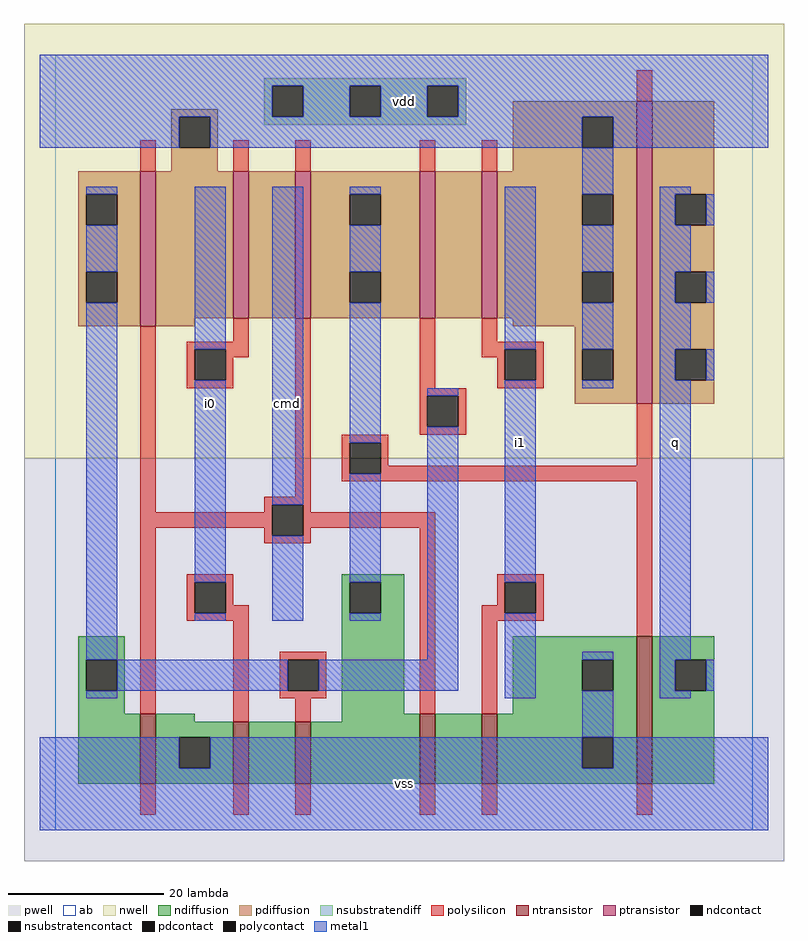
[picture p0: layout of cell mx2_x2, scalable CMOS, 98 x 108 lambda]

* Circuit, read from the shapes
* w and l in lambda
.subckt mx2_x2 cmd i0 i1 q vdd vss
M1 vss cmd n1 VSUBS nfet w=9 l=2
M2 n2 i0 vss VSUBS nfet w=8 l=2
M3 n3 n1 n2 VSUBS nfet w=8 l=2
M4 n4 cmd n3 VSUBS nfet w=9 l=2
M5 vss i1 n4 VSUBS nfet w=9 l=2
M6 q n3 vss VSUBS nfet w=19 l=2
M7 vdd cmd n1 vdd pfet w=20 l=2
M8 n5 i0 vdd vdd pfet w=19 l=2
M9 n3 cmd n5 vdd pfet w=19 l=2
M10 n6 n1 n3 vdd pfet w=19 l=2
M11 vdd i1 n6 vdd pfet w=19 l=2
M12 q n3 vdd vdd pfet w=39 l=2
.ends

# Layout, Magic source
magic
tech scmos
<< ab >>
rect 0 0 90 100
<< pwell >>
rect -4 -4 94 48
<< nwell >>
rect -4 48 94 104
<< polysilicon >>
rect 11 85 13 89
rect 75 94 77 98
rect 23 85 25 89
rect 31 85 33 89
rect 47 85 49 89
rect 55 85 57 89
rect 11 41 13 65
rect 23 63 25 66
rect 17 62 25 63
rect 17 58 18 62
rect 22 61 25 62
rect 22 58 23 61
rect 17 57 23 58
rect 31 43 33 66
rect 47 57 49 66
rect 55 63 57 66
rect 55 62 63 63
rect 55 61 58 62
rect 57 58 58 61
rect 62 58 63 62
rect 57 57 63 58
rect 47 56 53 57
rect 47 52 48 56
rect 52 52 53 56
rect 47 51 53 52
rect 37 50 43 51
rect 37 46 38 50
rect 42 47 43 50
rect 75 47 77 55
rect 42 46 77 47
rect 37 45 77 46
rect 27 42 33 43
rect 27 41 28 42
rect 11 39 28 41
rect 11 15 13 39
rect 27 38 28 39
rect 32 41 33 42
rect 32 39 49 41
rect 32 38 33 39
rect 27 37 33 38
rect 17 32 23 33
rect 17 28 18 32
rect 22 29 23 32
rect 22 28 25 29
rect 17 27 25 28
rect 23 14 25 27
rect 29 22 35 23
rect 29 18 30 22
rect 34 18 35 22
rect 29 17 35 18
rect 31 14 33 17
rect 47 15 49 39
rect 57 32 63 33
rect 57 29 58 32
rect 55 28 58 29
rect 62 28 63 32
rect 55 27 63 28
rect 55 15 57 27
rect 75 25 77 45
rect 11 2 13 6
rect 23 2 25 6
rect 31 2 33 6
rect 47 2 49 6
rect 55 2 57 6
rect 75 2 77 6
<< ndiffusion >>
rect 3 22 9 25
rect 3 18 4 22
rect 8 18 9 22
rect 3 15 9 18
rect 37 32 45 33
rect 3 6 11 15
rect 13 14 18 15
rect 37 28 38 32
rect 42 28 45 32
rect 37 15 45 28
rect 59 22 75 25
rect 59 18 68 22
rect 72 18 75 22
rect 59 15 75 18
rect 37 14 47 15
rect 13 12 23 14
rect 13 8 16 12
rect 20 8 23 12
rect 13 6 23 8
rect 25 6 31 14
rect 33 6 47 14
rect 49 6 55 15
rect 57 12 75 15
rect 57 8 68 12
rect 72 8 75 12
rect 57 6 75 8
rect 77 22 85 25
rect 77 18 80 22
rect 84 18 85 22
rect 77 6 85 18
<< pdiffusion >>
rect 15 92 21 93
rect 15 88 16 92
rect 20 88 21 92
rect 59 92 75 94
rect 15 85 21 88
rect 59 88 68 92
rect 72 88 75 92
rect 59 85 75 88
rect 3 82 11 85
rect 3 78 4 82
rect 8 78 11 82
rect 3 72 11 78
rect 3 68 4 72
rect 8 68 11 72
rect 3 65 11 68
rect 13 66 23 85
rect 25 66 31 85
rect 33 82 47 85
rect 33 78 38 82
rect 42 78 47 82
rect 33 72 47 78
rect 33 68 38 72
rect 42 68 47 72
rect 33 66 47 68
rect 49 66 55 85
rect 57 82 75 85
rect 57 78 68 82
rect 72 78 75 82
rect 57 72 75 78
rect 57 68 68 72
rect 72 68 75 72
rect 57 66 75 68
rect 13 65 18 66
rect 59 65 75 66
rect 67 62 75 65
rect 67 58 68 62
rect 72 58 75 62
rect 67 55 75 58
rect 77 82 85 94
rect 77 78 80 82
rect 84 78 85 82
rect 77 72 85 78
rect 77 68 80 72
rect 84 68 85 72
rect 77 62 85 68
rect 77 58 80 62
rect 84 58 85 62
rect 77 55 85 58
<< metal1 >>
rect -2 96 92 100
rect -2 92 28 96
rect 32 92 38 96
rect 42 92 48 96
rect 52 92 92 96
rect -2 88 16 92
rect 20 88 68 92
rect 72 88 92 92
rect 4 82 8 83
rect 4 72 8 78
rect 4 22 8 68
rect 18 62 22 83
rect 18 32 22 58
rect 18 27 22 28
rect 28 42 32 83
rect 28 27 32 38
rect 38 82 42 83
rect 38 72 42 78
rect 38 50 42 68
rect 58 62 62 83
rect 38 32 42 46
rect 38 27 42 28
rect 48 56 52 57
rect 48 22 52 52
rect 8 18 30 22
rect 34 18 52 22
rect 58 32 62 58
rect 68 82 72 88
rect 68 72 72 78
rect 68 62 72 68
rect 68 57 72 58
rect 78 82 82 83
rect 78 78 80 82
rect 84 78 85 82
rect 78 72 82 78
rect 78 68 80 72
rect 84 68 85 72
rect 78 62 82 68
rect 78 58 80 62
rect 84 58 85 62
rect 4 17 8 18
rect 58 17 62 28
rect 68 22 72 23
rect 68 12 72 18
rect 78 22 82 58
rect 78 18 80 22
rect 84 18 85 22
rect 78 17 82 18
rect -2 8 16 12
rect 20 8 68 12
rect 72 8 92 12
rect -2 0 92 8
<< ntransistor >>
rect 11 6 13 15
rect 23 6 25 14
rect 31 6 33 14
rect 47 6 49 15
rect 55 6 57 15
rect 75 6 77 25
<< ptransistor >>
rect 11 65 13 85
rect 23 66 25 85
rect 31 66 33 85
rect 47 66 49 85
rect 55 66 57 85
rect 75 55 77 94
<< polycontact >>
rect 18 58 22 62
rect 58 58 62 62
rect 48 52 52 56
rect 38 46 42 50
rect 28 38 32 42
rect 18 28 22 32
rect 30 18 34 22
rect 58 28 62 32
<< ndcontact >>
rect 4 18 8 22
rect 38 28 42 32
rect 68 18 72 22
rect 16 8 20 12
rect 68 8 72 12
rect 80 18 84 22
<< pdcontact >>
rect 16 88 20 92
rect 68 88 72 92
rect 4 78 8 82
rect 4 68 8 72
rect 38 78 42 82
rect 38 68 42 72
rect 68 78 72 82
rect 68 68 72 72
rect 68 58 72 62
rect 80 78 84 82
rect 80 68 84 72
rect 80 58 84 62
<< nsubstratencontact >>
rect 28 92 32 96
rect 38 92 42 96
rect 48 92 52 96
<< nsubstratendiff >>
rect 27 96 53 97
rect 27 92 28 96
rect 32 92 38 96
rect 42 92 48 96
rect 52 92 53 96
rect 27 91 53 92
<< labels >>
rlabel metal1 20 55 20 55 6 i0
rlabel metal1 30 55 30 55 6 cmd
rlabel metal1 45 6 45 6 6 vss
rlabel metal1 60 50 60 50 6 i1
rlabel metal1 45 94 45 94 6 vdd
rlabel metal1 80 50 80 50 6 q
<< end >>
